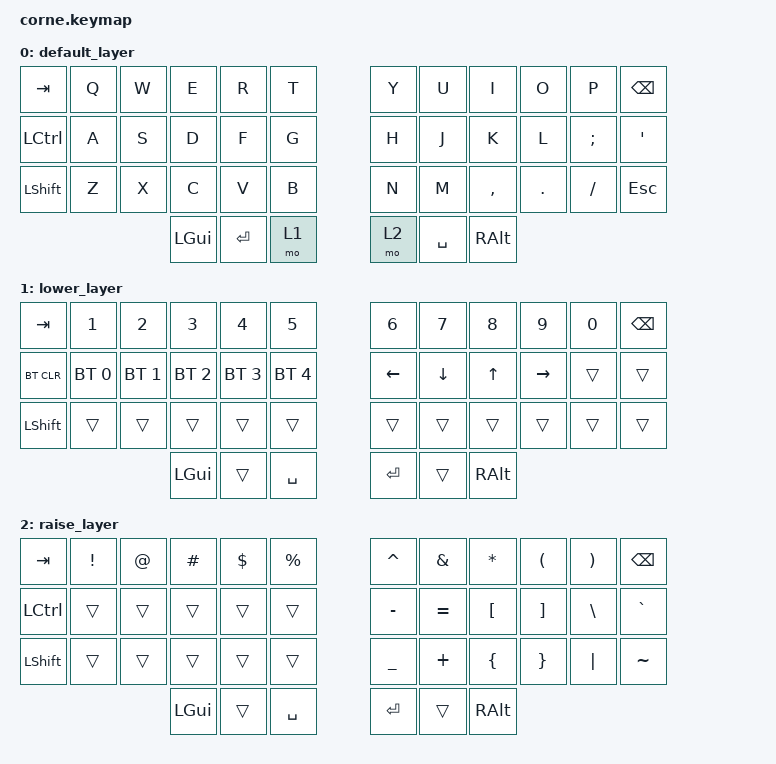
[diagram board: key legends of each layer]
/*
 * Copyright (c) 2020 The ZMK Contributors
 *
 * SPDX-License-Identifier: MIT
 */

#include <behaviors.dtsi>
#include <dt-bindings/zmk/keys.h>
#include <dt-bindings/zmk/bt.h>


/ {
        kscan0: kscan {
        compatible = "zmk,kscan-gpio-matrix";
        diode-direction = "col2row";
        col-gpios
                = <&pro_micro 2 GPIO_ACTIVE_HIGH>
                , <&pro_micro 3 GPIO_ACTIVE_HIGH>
                , <&pro_micro 4 GPIO_ACTIVE_HIGH>
                , <&pro_micro 5 GPIO_ACTIVE_HIGH>
                , <&pro_micro 6 GPIO_ACTIVE_HIGH>
                , <&pro_micro 7 GPIO_ACTIVE_HIGH>
                ;
        row-gpios
                = <&pro_micro 20 (GPIO_ACTIVE_HIGH | GPIO_PULL_DOWN)>
                , <&pro_micro 19 (GPIO_ACTIVE_HIGH | GPIO_PULL_DOWN)>
                , <&pro_micro 18 (GPIO_ACTIVE_HIGH | GPIO_PULL_DOWN)>
                , <&pro_micro 21 (GPIO_ACTIVE_HIGH | GPIO_PULL_DOWN)>
                ;
        };

        default_transform {
	col-offset = <6>;
        };

        keymap {
                compatible = "zmk,keymap";

                default_layer {
// -----------------------------------------------------------------------------------------
// |  TAB |  Q  |  W  |  E  |  R  |  T  |   |  Y  |  U   |  I  |  O  |  P  | BSPC |
// | CTRL |  A  |  S  |  D  |  F  |  G  |   |  H  |  J   |  K  |  L  |  ;  |  '   |
// | SHFT |  Z  |  X  |  C  |  V  |  B  |   |  N  |  M   |  ,  |  .  |  /  | ESC  |
//                    | GUI | LWR | SPC |   | ENT | RSE  | ALT |
                        bindings = <
   &kp TAB   &kp Q &kp W &kp E &kp R &kp T   &kp Y &kp U  &kp I     &kp O   &kp P    &kp BSPC
   &kp LCTRL &kp A &kp S &kp D &kp F &kp G   &kp H &kp J  &kp K     &kp L   &kp SEMI &kp SQT
   &kp LSHFT &kp Z &kp X &kp C &kp V &kp B   &kp N &kp M  &kp COMMA &kp DOT &kp FSLH &kp ESC
                  &kp LGUI &kp RET &mo 1     &mo 2 &kp SPACE &kp RALT
                        >;
                };
                lower_layer {
// -----------------------------------------------------------------------------------------
// |  TAB |  1  |  2  |  3  |  4  |  5  |   |  6  |  7  |  8  |  9  |  0  | BSPC |
// | BTCLR| BT1 | BT2 | BT3 | BT4 | BT5 |   | LFT | DWN |  UP | RGT |     |      |
// | SHFT |     |     |     |     |     |   |     |     |     |     |     |      |
//                    | GUI |     | SPC |   | ENT |     | ALT |
                        bindings = <
   &kp TAB    &kp N1       &kp N2       &kp N3       &kp N4       &kp N5         &kp N6   &kp N7   &kp N8 &kp N9    &kp N0 &kp BSPC
   &bt BT_CLR &bt BT_SEL 0 &bt BT_SEL 1 &bt BT_SEL 2 &bt BT_SEL 3 &bt BT_SEL 4   &kp LEFT &kp DOWN &kp UP &kp RIGHT &trans &trans
   &kp LSHFT  &trans       &trans       &trans       &trans       &trans         &trans   &trans   &trans &trans    &trans &trans
                                    &kp LGUI     &trans       &kp SPACE      &kp RET  &trans   &kp RALT
                        >;
                };

                raise_layer {
// -----------------------------------------------------------------------------------------
// |  TAB |  !  |  @  |  #  |  $  |  %  |   |  ^  |  &  |  *  |  (  |  )  | BSPC |
// | CTRL |     |     |     |     |     |   |  -  |  =  |  [  |  ]  |  \  |  `   |
// | SHFT |     |     |     |     |     |   |  _  |  +  |  {  |  }  | "|" |  ~   |
//                    | GUI |     | SPC |   | ENT |     | ALT |
                        bindings = <
   &kp  TAB  &kp EXCL &kp AT &kp HASH &kp DLLR &kp PRCNT   &kp CARET &kp AMPS  &kp ASTRK &kp LPAR &kp RPAR &kp BSPC
   &kp LCTRL &trans   &trans &trans   &trans   &trans      &kp MINUS &kp EQUAL &kp LBKT  &kp RBKT &kp BSLH &kp GRAVE
   &kp LSHFT &trans   &trans &trans   &trans   &trans      &kp UNDER &kp PLUS  &kp LBRC  &kp RBRC &kp PIPE &kp TILDE
                             &kp LGUI &trans   &kp SPACE   &kp RET   &trans    &kp RALT
                        >;
                };
        };
};
